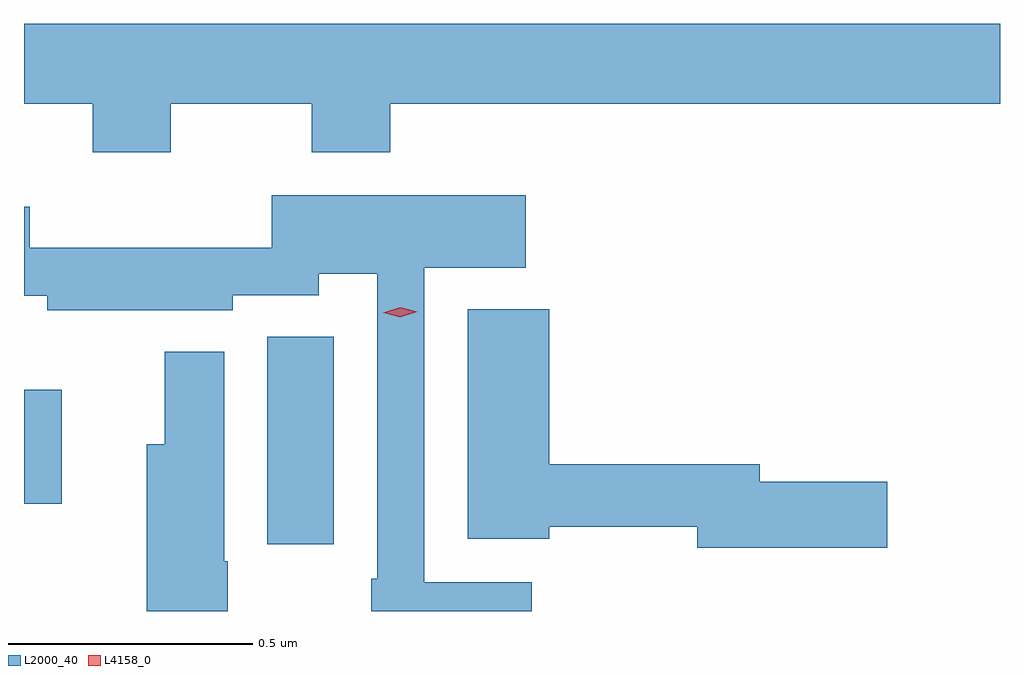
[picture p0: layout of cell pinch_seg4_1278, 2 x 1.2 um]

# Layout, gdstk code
import gdstk
lib = gdstk.Library(unit=1e-6, precision=1e-09)
def R(c, l, rs):  # rectangles x0, y0, x1, y1
    for r in rs: c.add(gdstk.rectangle(r[:2], r[2:], *l))
def P(c, l, *ps):  # polygons
    for p in ps: c.add(gdstk.Polygon(p, *l))
L2000_40 = (2000, 40)
L4158_0 = (4158, 0)

pinch_seg4_1278 = lib.new_cell('pinch_seg4_1278')
R(pinch_seg4_1278, L2000_40, [(219.74,767.946,219.877,768.371), (219.242,768.029,219.319,768.262)])
P(pinch_seg4_1278, L2000_40, [(219.543,768.848),(219.832,768.848),(219.832,768.749),(219.992,768.749),(219.992,768.848),(221.242,768.848),(221.242,769.012),(219.242,769.012),(219.242,768.848),(219.383,768.848),(219.383,768.749),(219.543,768.749)],
  [(220.282,767.868),(220.062,767.868),(220.062,768.512),(220.27,768.512),(220.27,768.661),(219.75,768.661),(219.75,768.553),(219.254,768.553),(219.254,768.637),(219.242,768.637),(219.242,768.455),(219.29,768.455),(219.29,768.425),(219.67,768.425),(219.67,768.456),(219.846,768.456),(219.846,768.5),(219.966,768.5),(219.966,767.875),(219.954,767.875),(219.954,767.809),(220.282,767.809)],
  [(221.011,768.074),(220.75,768.074),(220.75,768.11),(220.318,768.11),(220.318,768.427),(220.151,768.427),(220.151,767.957),(220.318,767.957),(220.318,767.982),(220.622,767.982),(220.622,767.939),(221.011,767.939)],
  [(219.66,767.911),(219.652,767.911),(219.652,768.34),(219.53,768.34),(219.53,768.151),(219.494,768.151),(219.494,767.809),(219.66,767.809)])
P(pinch_seg4_1278, L4158_0, [(220.013,768.411),(219.978,768.42),(219.978,768.42),(219.978,768.42),(220.013,768.431),(220.048,768.422),(220.048,768.422),(220.048,768.422)])

lib.write_gds('pinch_seg4_1278.gds')
